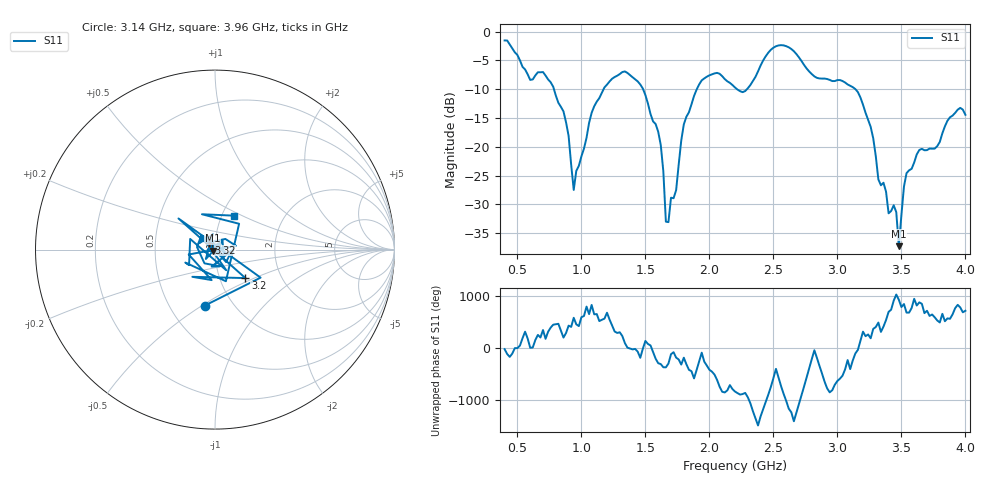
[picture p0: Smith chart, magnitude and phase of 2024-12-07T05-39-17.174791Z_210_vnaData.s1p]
!Created with skrf (http://scikit-rf.org).
# Hz S RI R 50.0
!freq ReS11 ImS11
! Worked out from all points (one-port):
!   181 points, 400 MHz to 4 GHz, reference 50 ohm
!   lowest |S11| = -37.2 dB at 3.48 GHz (marker M1), VSWR 1.03, Z = 48.8 - j0.626 ohm
!   |S11| at or under -10 dB: 785.4 MHz to 1.173 GHz (387.9 MHz wide, 39.6 % of centre); 1.482 GHz to 1.902 GHz (420 MHz wide, 24.8 % of centre); 3.141 GHz to end of sweep (the widest 3 of 4)
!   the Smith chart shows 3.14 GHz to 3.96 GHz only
!   S11 on the Smith chart (normalised r, x): 3.14 GHz: 0.74, -0.51; 3.2 GHz: 1.32, -0.44; 3.32 GHz: 0.93, +0.07; 3.96 GHz: 1.14, +0.45
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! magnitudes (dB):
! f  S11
! 400 MHz  -1.6
! 860 MHz  -13.9
! 900 MHz  -18.1
! 940 MHz  -27.5
! 1.1 GHz  -13.0
! 1.3 GHz  -7.4
! 1.46 GHz  -9.2
! 1.6 GHz  -17.4
! 1.64 GHz  -24.2
! 1.66 GHz  -33.0
! 1.76 GHz  -23.1
! 1.8 GHz  -16.1
! 1.94 GHz  -8.5
! 2.2 GHz  -9.7
! 2.5 GHz  -2.8
! 2.66 GHz  -3.4
! 3.1 GHz  -9.4
! 3.14 GHz  -10.0
! 3.2 GHz  -12.7
! 3.28 GHz  -18.5
! 3.32 GHz  -25.7
! 3.4 GHz  -31.5
! 3.46 GHz  -31.3
! 3.48 GHz  -37.2
! 3.52 GHz  -26.9
! 3.56 GHz  -24.1
! 3.96 GHz  -13.2
! 4 GHz  -14.5
